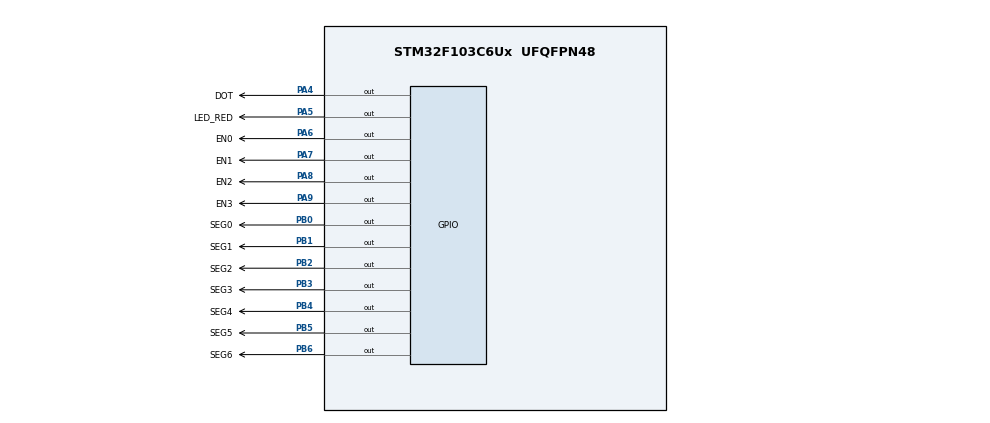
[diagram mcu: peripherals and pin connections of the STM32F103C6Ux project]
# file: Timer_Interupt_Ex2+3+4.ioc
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Mcu.Family=STM32F1
Mcu.Name=STM32F103C6Ux
Mcu.Package=UFQFPN48
NVIC.PriorityGroup=NVIC_PRIORITYGROUP_4
NVIC.TIM2_IRQn=true\:0\:0\:false\:false\:true\:true\:true
PA4.GPIO_Label=DOT
PA4.Signal=GPIO_Output
PA5.GPIO_Label=LED_RED
PA5.Signal=GPIO_Output
PA6.GPIO_Label=EN0
PA6.Signal=GPIO_Output
PA7.GPIO_Label=EN1
PA7.Signal=GPIO_Output
PA8.GPIO_Label=EN2
PA8.Signal=GPIO_Output
PA9.GPIO_Label=EN3
PA9.Signal=GPIO_Output
PB0.GPIO_Label=SEG0
PB0.Signal=GPIO_Output
PB1.GPIO_Label=SEG1
PB1.Signal=GPIO_Output
PB2.GPIO_Label=SEG2
PB2.Signal=GPIO_Output
PB3.GPIO_Label=SEG3
PB3.Signal=GPIO_Output
PB4.GPIO_Label=SEG4
PB4.Signal=GPIO_Output
PB5.GPIO_Label=SEG5
PB5.Signal=GPIO_Output
PB6.GPIO_Label=SEG6
PB6.Signal=GPIO_Output
PC14-OSC32_IN.Mode=LSE-External-Oscillator
PC14-OSC32_IN.Signal=RCC_OSC32_IN
PC15-OSC32_OUT.Mode=LSE-External-Oscillator
PC15-OSC32_OUT.Signal=RCC_OSC32_OUT
PD0-OSC_IN.Mode=HSE-External-Oscillator
PD0-OSC_IN.Signal=RCC_OSC_IN
PD1-OSC_OUT.Mode=HSE-External-Oscillator
PD1-OSC_OUT.Signal=RCC_OSC_OUT
ProjectManager.HeapSize=0x200
ProjectManager.StackSize=0x400
ProjectManager.TargetToolchain=STM32CubeIDE
RCC.APB1Freq_Value=8000000
RCC.APB2Freq_Value=8000000
TIM2.Period=9
TIM2.Prescaler=7999
VP_SYS_VS_ND.Mode=No_Debug
VP_TIM2_VS_ClockSourceINT.Mode=Internal
board=custom

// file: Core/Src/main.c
/* USER CODE BEGIN Header */
/**
  ******************************************************************************
  * @file           : main.c
  * @brief          : Main program body
  ******************************************************************************
  * @attention
  *
  * <h2><center>&copy; Copyright (c) 2025 STMicroelectronics.
  * All rights reserved.</center></h2>
  *
  * This software component is licensed by ST under BSD 3-Clause license,
  * the "License"; You may not use this file except in compliance with the
  * License. You may obtain a copy of the License at:
  *                        opensource.org/licenses/BSD-3-Clause
  *
  ******************************************************************************
  */
/* USER CODE END Header */
#include "main.h"

TIM_HandleTypeDef htim2;

/* USER CODE BEGIN PV */

// ******************************************************** //
/* Exercise 3 */
const int MAX_LED = 4;
int index_led = 0;
int led_buffer[4] = {1, 2, 3, 4};
void update7SEG(int index);
uint8_t led_counter = 0;
uint8_t dot_counter = 0;
uint8_t status = 0;
/* USER CODE END PV */

void SystemClock_Config(void);
static void MX_GPIO_Init(void);
static void MX_TIM2_Init(void);

/* USER CODE BEGIN 0 */
void display7SEG(uint8_t counter){
	// The first condition -> Turn on LED
	// Config SEG A
	if(counter != 1 && counter != 4){
		HAL_GPIO_WritePin(GPIOB, SEG0_Pin, GPIO_PIN_RESET);
	}
	else HAL_GPIO_WritePin(GPIOB, SEG0_Pin, GPIO_PIN_SET);

	// Config SEG B
	if(counter != 5 && counter != 6){
		HAL_GPIO_WritePin(GPIOB, SEG1_Pin, GPIO_PIN_RESET);
	}
	else HAL_GPIO_WritePin(GPIOB, SEG1_Pin, GPIO_PIN_SET);

	// Config SEG C
	if(counter != 2){
		HAL_GPIO_WritePin(GPIOB, SEG2_Pin, GPIO_PIN_RESET);
	}
	else HAL_GPIO_WritePin(GPIOB, SEG2_Pin, GPIO_PIN_SET);

	// Config SEG D
	if(counter != 1 && counter != 4 && counter != 7){
		HAL_GPIO_WritePin(GPIOB, SEG3_Pin, GPIO_PIN_RESET);
	}
	else HAL_GPIO_WritePin(GPIOB, SEG3_Pin, GPIO_PIN_SET);

	// Config SEG E
	if(counter == 0 || counter == 2 || counter == 6 || counter == 8){
		HAL_GPIO_WritePin(GPIOB, SEG4_Pin, GPIO_PIN_RESET);
	}
	else HAL_GPIO_WritePin(GPIOB, SEG4_Pin, GPIO_PIN_SET);

	// Config SEG F
	if(counter != 1 && counter != 2 && counter != 3 && counter != 7){
		HAL_GPIO_WritePin(GPIOB, SEG5_Pin, GPIO_PIN_RESET);
	}
	else HAL_GPIO_WritePin(GPIOB, SEG5_Pin, GPIO_PIN_SET);

	// Config SEG G
	if(counter != 0 && counter != 1 && counter != 7){
		HAL_GPIO_WritePin(GPIOB, SEG6_Pin, GPIO_PIN_RESET);
	}
	else HAL_GPIO_WritePin(GPIOB, SEG6_Pin, GPIO_PIN_SET);
}

// ******************************************************** //
// Exercise 2
//void HAL_TIM_PeriodElapsedCallback(TIM_HandleTypeDef *htim){
//	if(htim == &htim2){
//		if(dot_counter >= 100){
//			HAL_GPIO_TogglePin(GPIOA, DOT_Pin);
//			HAL_GPIO_TogglePin(LED_RED_GPIO_Port, LED_RED_Pin);
//			dot_counter = 0;
//		}
//
//		if(led_counter >= 50){
//			if(status >= 4) status = 0;
//			led_counter = 0;
//
//			if(status == 0){
//				HAL_GPIO_WritePin(GPIOA, EN0_Pin, GPIO_PIN_RESET);
//				HAL_GPIO_WritePin(GPIOA, EN1_Pin, GPIO_PIN_SET);
//				HAL_GPIO_WritePin(GPIOA, EN2_Pin, GPIO_PIN_SET);
//				HAL_GPIO_WritePin(GPIOA, EN3_Pin, GPIO_PIN_SET);
//				display7SEG(1);
//			}
//			else if(status == 1){
//				HAL_GPIO_WritePin(GPIOA, EN0_Pin, GPIO_PIN_SET);
//				HAL_GPIO_WritePin(GPIOA, EN1_Pin, GPIO_PIN_RESET);
//				HAL_GPIO_WritePin(GPIOA, EN2_Pin, GPIO_PIN_SET);
//				HAL_GPIO_WritePin(GPIOA, EN3_Pin, GPIO_PIN_SET);
//				display7SEG(2);
//			}
//			else if(status == 2){
//				HAL_GPIO_WritePin(GPIOA, EN0_Pin, GPIO_PIN_SET);
//				HAL_GPIO_WritePin(GPIOA, EN1_Pin, GPIO_PIN_SET);
//				HAL_GPIO_WritePin(GPIOA, EN2_Pin, GPIO_PIN_RESET);
//				HAL_GPIO_WritePin(GPIOA, EN3_Pin, GPIO_PIN_SET);
//				display7SEG(3);
//			}
//			else{
//				HAL_GPIO_WritePin(GPIOA, EN0_Pin, GPIO_PIN_SET);
//				HAL_GPIO_WritePin(GPIOA, EN1_Pin, GPIO_PIN_SET);
//				HAL_GPIO_WritePin(GPIOA, EN2_Pin, GPIO_PIN_SET);
//				HAL_GPIO_WritePin(GPIOA, EN3_Pin, GPIO_PIN_RESET);
//				display7SEG(0);
//			}
//			++status;
//		}
//
//		++dot_counter;
//		++led_counter;
//	}
//}

// ******************************************************** //
/* Exercise 3 */
//void update7SEG(int index){
//	switch(index){
//		case 0:
//			HAL_GPIO_WritePin(GPIOA, EN0_Pin, GPIO_PIN_RESET);
//			HAL_GPIO_WritePin(GPIOA, EN1_Pin, GPIO_PIN_SET);
//			HAL_GPIO_WritePin(GPIOA, EN2_Pin, GPIO_PIN_SET);
//			HAL_GPIO_WritePin(GPIOA, EN3_Pin, GPIO_PIN_SET);
//			display7SEG(led_buffer[0]);
//			break;
//		case 1:
//			HAL_GPIO_WritePin(GPIOA, EN0_Pin, GPIO_PIN_SET);
//			HAL_GPIO_WritePin(GPIOA, EN1_Pin, GPIO_PIN_RESET);
//			display7SEG(led_buffer[1]);
//			break;
//		case 2:
//			HAL_GPIO_WritePin(GPIOA, EN1_Pin, GPIO_PIN_SET);
//			HAL_GPIO_WritePin(GPIOA, EN2_Pin, GPIO_PIN_RESET);
//			display7SEG(led_buffer[2]);
//			break;
//		case 3:
//			HAL_GPIO_WritePin(GPIOA, EN2_Pin, GPIO_PIN_SET);
//			HAL_GPIO_WritePin(GPIOA, EN3_Pin, GPIO_PIN_RESET);
//			display7SEG(led_buffer[3]);
//			break;
//		default:
//			break;
//	}
//}
//
//void HAL_TIM_PeriodElapsedCallback(TIM_HandleTypeDef *htim){
//	if(htim == &htim2){
//		if(led_counter >= 50){
//			if(index_led >= 4) index_led = 0;
//			update7SEG(index_led);
//			++index_led;
//			led_counter = 0;
//		}
//		if(dot_counter >= 100){
//			HAL_GPIO_TogglePin(DOT_GPIO_Port, DOT_Pin);
//			HAL_GPIO_TogglePin(LED_RED_GPIO_Port, LED_RED_Pin);
//			dot_counter = 0;
//		}
//		++dot_counter;
//		++led_counter;
//	}
//}

// ******************************************************** //
/* Exercise 4 */
//void update7SEG(int index){
//	switch(index){
//		case 0:
//			HAL_GPIO_WritePin(GPIOA, EN0_Pin, GPIO_PIN_RESET);
//			HAL_GPIO_WritePin(GPIOA, EN1_Pin, GPIO_PIN_SET);
//			HAL_GPIO_WritePin(GPIOA, EN2_Pin, GPIO_PIN_SET);
//			HAL_GPIO_WritePin(GPIOA, EN3_Pin, GPIO_PIN_SET);
//			display7SEG(led_buffer[0]);
//			break;
//		case 1:
//			HAL_GPIO_WritePin(GPIOA, EN0_Pin, GPIO_PIN_SET);
//			HAL_GPIO_WritePin(GPIOA, EN1_Pin, GPIO_PIN_RESET);
//			display7SEG(led_buffer[1]);
//			break;
//		case 2:
//			HAL_GPIO_WritePin(GPIOA, EN1_Pin, GPIO_PIN_SET);
//			HAL_GPIO_WritePin(GPIOA, EN2_Pin, GPIO_PIN_RESET);
//			display7SEG(led_buffer[2]);
//			break;
//		case 3:
//			HAL_GPIO_WritePin(GPIOA, EN2_Pin, GPIO_PIN_SET);
//			HAL_GPIO_WritePin(GPIOA, EN3_Pin, GPIO_PIN_RESET);
//			display7SEG(led_buffer[3]);
//			break;
//		default:
//			break;
//	}
//}
//
//void HAL_TIM_PeriodElapsedCallback(TIM_HandleTypeDef *htim){
//	if(htim == &htim2){
//		if(led_counter >= 25){
//			if(index_led >= 4) index_led = 0;
//			update7SEG(index_led);
//			++index_led;
//			led_counter = 0;
//		}
//
//		if(dot_counter >= 100){
//			HAL_GPIO_TogglePin(DOT_GPIO_Port, DOT_Pin);
//			HAL_GPIO_TogglePin(LED_RED_GPIO_Port, LED_RED_Pin);
//			dot_counter = 0;
//		}
//		++dot_counter;
//		++led_counter;
//	}
//}
// ******************************************************** //

/* USER CODE END 0 */

int main(void)
{

  /* MCU Configuration--------------------------------------------------------*/

  /* Reset of all peripherals, Initializes the Flash interface and the Systick. */
  HAL_Init();

  /* Configure the system clock */
  SystemClock_Config();

  /* Initialize all configured peripherals */
  MX_GPIO_Init();
  MX_TIM2_Init();
  /* USER CODE BEGIN 2 */
  HAL_TIM_Base_Start_IT(&htim2);

  //Initial the first state
  HAL_GPIO_WritePin(DOT_GPIO_Port, DOT_Pin, 0);
  HAL_GPIO_WritePin(LED_RED_GPIO_Port, LED_RED_Pin, 0);

  // Set up for Exercise 2
//  HAL_GPIO_WritePin(GPIOA, EN0_Pin, GPIO_PIN_RESET);
//  HAL_GPIO_WritePin(GPIOA, EN1_Pin, GPIO_PIN_SET);
//  HAL_GPIO_WritePin(GPIOA, EN2_Pin, GPIO_PIN_SET);
//  HAL_GPIO_WritePin(GPIOA, EN3_Pin, GPIO_PIN_SET);
//  display7SEG(1);
//  status++;

  // Set up for Exercise 4
  update7SEG(index_led++);

  /* USER CODE END 2 */

  /* Infinite loop */
  while (1)
  {

  }
}

void SystemClock_Config(void)
{
  RCC_OscInitTypeDef RCC_OscInitStruct = {0};
  RCC_ClkInitTypeDef RCC_ClkInitStruct = {0};

  /** Initializes the RCC Oscillators according to the specified parameters
  * in the RCC_OscInitTypeDef structure.
  */
  RCC_OscInitStruct.OscillatorType = RCC_OSCILLATORTYPE_HSI;
  RCC_OscInitStruct.HSIState = RCC_HSI_ON;
  RCC_OscInitStruct.HSICalibrationValue = RCC_HSICALIBRATION_DEFAULT;
  RCC_OscInitStruct.PLL.PLLState = RCC_PLL_NONE;
  if (HAL_RCC_OscConfig(&RCC_OscInitStruct) != HAL_OK)
  {
    Error_Handler();
  }
  /** Initializes the CPU, AHB and APB buses clocks
  */
  RCC_ClkInitStruct.ClockType = RCC_CLOCKTYPE_HCLK|RCC_CLOCKTYPE_SYSCLK
                              |RCC_CLOCKTYPE_PCLK1|RCC_CLOCKTYPE_PCLK2;
  RCC_ClkInitStruct.SYSCLKSource = RCC_SYSCLKSOURCE_HSI;
  RCC_ClkInitStruct.AHBCLKDivider = RCC_SYSCLK_DIV1;
  RCC_ClkInitStruct.APB1CLKDivider = RCC_HCLK_DIV1;
  RCC_ClkInitStruct.APB2CLKDivider = RCC_HCLK_DIV1;

  if (HAL_RCC_ClockConfig(&RCC_ClkInitStruct, FLASH_LATENCY_0) != HAL_OK)
  {
    Error_Handler();
  }
}

static void MX_TIM2_Init(void)
{

  TIM_ClockConfigTypeDef sClockSourceConfig = {0};
  TIM_MasterConfigTypeDef sMasterConfig = {0};

  htim2.Instance = TIM2;
  htim2.Init.Prescaler = 7999;
  htim2.Init.CounterMode = TIM_COUNTERMODE_UP;
  htim2.Init.Period = 9;
  htim2.Init.ClockDivision = TIM_CLOCKDIVISION_DIV1;
  htim2.Init.AutoReloadPreload = TIM_AUTORELOAD_PRELOAD_DISABLE;
  if (HAL_TIM_Base_Init(&htim2) != HAL_OK)
  {
    Error_Handler();
  }
  sClockSourceConfig.ClockSource = TIM_CLOCKSOURCE_INTERNAL;
  if (HAL_TIM_ConfigClockSource(&htim2, &sClockSourceConfig) != HAL_OK)
  {
    Error_Handler();
  }
  sMasterConfig.MasterOutputTrigger = TIM_TRGO_RESET;
  sMasterConfig.MasterSlaveMode = TIM_MASTERSLAVEMODE_DISABLE;
  if (HAL_TIMEx_MasterConfigSynchronization(&htim2, &sMasterConfig) != HAL_OK)
  {
    Error_Handler();
  }

}

static void MX_GPIO_Init(void)
{
  GPIO_InitTypeDef GPIO_InitStruct = {0};

  /* GPIO Ports Clock Enable */
  __HAL_RCC_GPIOC_CLK_ENABLE();
  __HAL_RCC_GPIOD_CLK_ENABLE();
  __HAL_RCC_GPIOA_CLK_ENABLE();
  __HAL_RCC_GPIOB_CLK_ENABLE();

  /*Configure GPIO pin Output Level */
  HAL_GPIO_WritePin(GPIOA, DOT_Pin|LED_RED_Pin|EN0_Pin|EN1_Pin
                          |EN2_Pin|EN3_Pin, GPIO_PIN_RESET);

  /*Configure GPIO pin Output Level */
  HAL_GPIO_WritePin(GPIOB, SEG0_Pin|SEG1_Pin|SEG2_Pin|SEG3_Pin
                          |SEG4_Pin|SEG5_Pin|SEG6_Pin, GPIO_PIN_RESET);

  /*Configure GPIO pins : DOT_Pin LED_RED_Pin EN0_Pin EN1_Pin
                           EN2_Pin EN3_Pin */
  GPIO_InitStruct.Pin = DOT_Pin|LED_RED_Pin|EN0_Pin|EN1_Pin
                          |EN2_Pin|EN3_Pin;
  GPIO_InitStruct.Mode = GPIO_MODE_OUTPUT_PP;
  GPIO_InitStruct.Pull = GPIO_NOPULL;
  GPIO_InitStruct.Speed = GPIO_SPEED_FREQ_LOW;
  HAL_GPIO_Init(GPIOA, &GPIO_InitStruct);

  /*Configure GPIO pins : SEG0_Pin SEG1_Pin SEG2_Pin SEG3_Pin
                           SEG4_Pin SEG5_Pin SEG6_Pin */
  GPIO_InitStruct.Pin = SEG0_Pin|SEG1_Pin|SEG2_Pin|SEG3_Pin
                          |SEG4_Pin|SEG5_Pin|SEG6_Pin;
  GPIO_InitStruct.Mode = GPIO_MODE_OUTPUT_PP;
  GPIO_InitStruct.Pull = GPIO_NOPULL;
  GPIO_InitStruct.Speed = GPIO_SPEED_FREQ_LOW;
  HAL_GPIO_Init(GPIOB, &GPIO_InitStruct);

}

void Error_Handler(void)
{
  __disable_irq();
  while (1)
  {
  }
}

/************************ (C) COPYRIGHT STMicroelectronics *****END OF FILE****/
